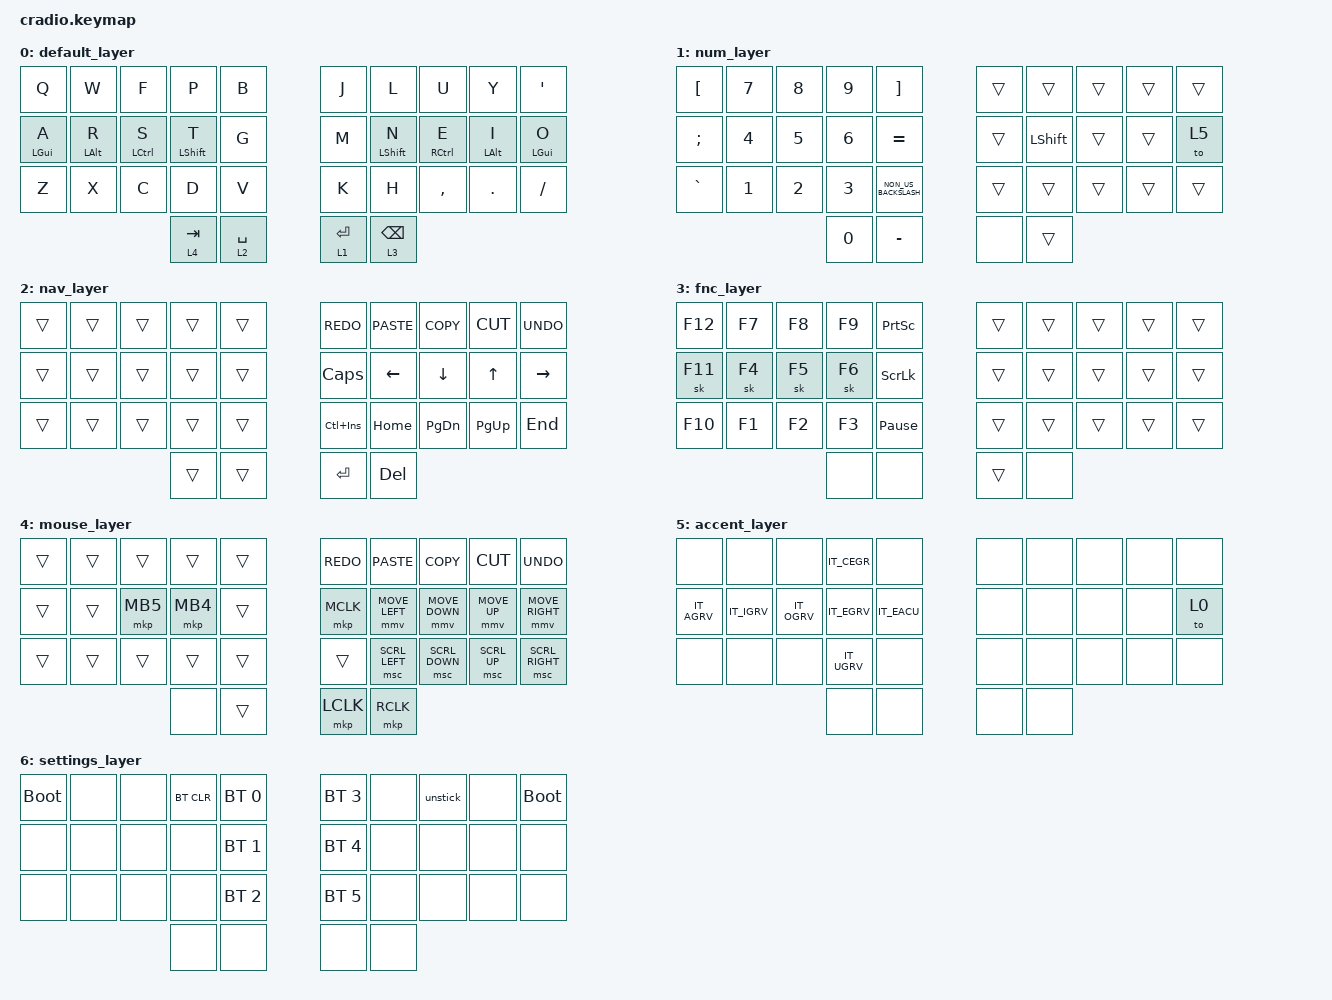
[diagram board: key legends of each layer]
/*
 * Copyright (c) 2020 The ZMK Contributors
 *
 * SPDX-License-Identifier: MIT
 */

#include "keymap_italian.h"
#include <behaviors.dtsi>
#include <dt-bindings/zmk/bt.h>
#include <dt-bindings/zmk/keys.h>
#include <dt-bindings/zmk/pointing.h>

// Layer definitions

#define BASE 0
#define SYM 1
#define EXT 2
#define FNC 3
#define SYM2 4
#define ACCENT 5
#define SETTINGS 6

// -----------------

&mt {
    //  flavor = "tap-preferred";
    // tapping_term_ms = <200>;

    flavor = "balanced";
    tapping-term-ms = <700>;
};

&sk { ignore-modifiers; };

/ {
    macros {
        // sometimes my device thinks a modifier is being held down
        // pressing all modifiers fixes it.

        unstick: unstick {
            label = "ZM_unstick";
            compatible = "zmk,behavior-macro";
            #binding-cells = <0>;
            bindings = <&kp LSHIFT &kp RSHIFT &kp LCTRL &kp RCTRL &kp LALT &kp RALT &kp LGUI &kp RGUI>;
        };
    };

    combos {
        compatible = "zmk,combos";

        // both right thumb keys

        combo_accent {
            timeout-ms = <300>;
            key-positions = <32 33>;
            bindings = <&mo ACCENT>;
        };

        // internal-left & external-right thumb keys

        combo_sym2 {
            timeout-ms = <200>;
            key-positions = <31 33>;
            bindings = <&mo SYM2>;
        };

        // both left thumb keys

        combo_settings {
            timeout-ms = <300>;
            key-positions = <30 31>;
            bindings = <&mo SETTINGS>;
        };
    };

    keymap {
        compatible = "zmk,keymap";

        // Base alpha layer

        default_layer {
            bindings = <
&kp Q           &kp W           &kp F        &kp P             &kp B          &kp J        &kp L             &kp U        &kp Y           &kp SQT
&mt LEFT_GUI A  &mt LEFT_ALT R  &mt LCTRL S  &mt LEFT_SHIFT T  &kp G          &kp M        &mt LEFT_SHIFT N  &mt RCTRL E  &mt LEFT_ALT I  &mt LEFT_GUI O
&kp Z           &kp X           &kp C        &kp D             &kp V          &kp K        &kp H             &kp COMMA    &kp DOT         &kp SLASH
                                             &lt 4 TAB         &lt 2 SPACE    &lt 1 ENTER  &lt 3 BACKSPACE
            >;
        };

        // Numbers and high frequency symbols

        num_layer {
            bindings = <
&kp LEFT_BRACKET  &kp N7        &kp N8        &kp N9        &kp RIGHT_BRACKET       &trans  &trans          &trans  &trans  &trans
&kp SEMICOLON     &kp NUMBER_4  &kp N5        &kp NUMBER_6  &kp EQUAL               &trans  &kp LEFT_SHIFT  &trans  &trans  &to 5
&kp GRAVE         &kp NUMBER_1  &kp NUMBER_2  &kp NUMBER_3  &kp NON_US_BACKSLASH    &trans  &trans          &trans  &trans  &trans
                                              &kp N0        &kp MINUS               &none   &trans
            >;
        };

        // Main modifiers and arrow keys

        nav_layer {
            bindings = <
&trans  &trans  &trans  &trans  &trans    &kp K_REDO      &kp K_PASTE  &kp K_COPY     &kp K_CUT     &kp K_UNDO
&trans  &trans  &trans  &trans  &trans    &kp CAPSLOCK    &kp LEFT     &kp DOWN       &kp UP_ARROW  &kp RIGHT
&trans  &trans  &trans  &trans  &trans    &kp LC(INSERT)  &kp HOME     &kp PAGE_DOWN  &kp PAGE_UP   &kp END
                        &trans  &trans    &kp ENTER       &kp DELETE
            >;
        };

        // Function keys with modifiers

        fnc_layer {
            bindings = <
&kp F12  &kp F7  &kp F8  &kp F9  &kp PRINTSCREEN    &trans  &trans  &trans  &trans  &trans
&sk F11  &sk F4  &sk F5  &sk F6  &kp SCROLLLOCK     &trans  &trans  &trans  &trans  &trans
&kp F10  &kp F1  &kp F2  &kp F3  &kp PAUSE_BREAK    &trans  &trans  &trans  &trans  &trans
                         &none   &none              &trans  &none
            >;
        };

        // Low frequency symbols.

        mouse_layer {
            bindings = <
&trans  &trans  &trans    &trans    &trans    &kp K_REDO  &kp K_PASTE     &kp K_COPY      &kp K_CUT     &kp K_UNDO
&trans  &trans  &mkp MB5  &mkp MB4  &trans    &mkp MCLK   &mmv MOVE_LEFT  &mmv MOVE_DOWN  &mmv MOVE_UP  &mmv MOVE_RIGHT
&trans  &trans  &trans    &trans    &trans    &trans      &msc SCRL_LEFT  &msc SCRL_DOWN  &msc SCRL_UP  &msc SCRL_RIGHT
                          &none     &trans    &mkp LCLK   &mkp RCLK
            >;
        };

        // Used to type regional accents.

        accent_layer {
            bindings = <
&none        &none        &none        &kp IT_CEGR  &none          &none  &none  &none  &none  &none
&kp IT_AGRV  &kp IT_IGRV  &kp IT_OGRV  &kp IT_EGRV  &kp IT_EACU    &none  &none  &none  &none  &to 0
&none        &none        &none        &kp IT_UGRV  &none          &none  &none  &none  &none  &none
                                       &none        &none          &none  &none
            >;
        };

        // Used to change the keyboard's settings.

        settings_layer {
            bindings = <
&bootloader  &none  &none  &bt BT_CLR  &bt BT_SEL 0    &bt BT_SEL 3  &none  &unstick  &none  &bootloader
&none        &none  &none  &none       &bt BT_SEL 1    &bt BT_SEL 4  &none  &none     &none  &none
&none        &none  &none  &none       &bt BT_SEL 2    &bt BT_SEL 5  &none  &none     &none  &none
                           &none       &none           &none         &none
            >;
        };
    };
};
